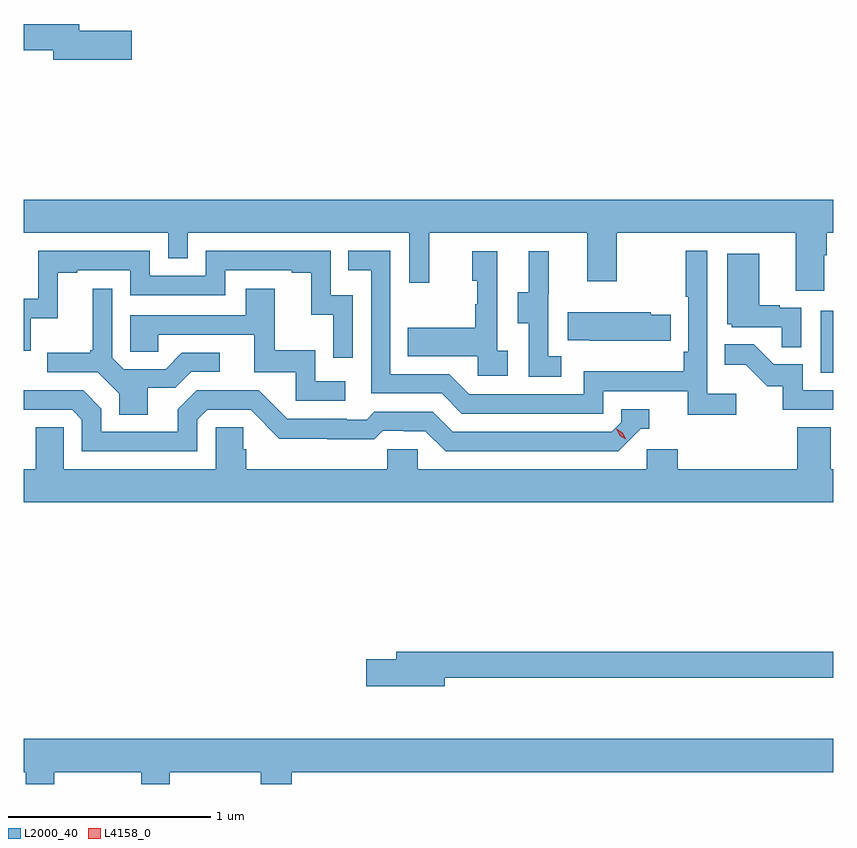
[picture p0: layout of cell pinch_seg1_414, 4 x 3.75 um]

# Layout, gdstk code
import gdstk
lib = gdstk.Library(unit=1e-6, precision=1e-09)
def R(c, l, rs):  # rectangles x0, y0, x1, y1
    for r in rs: c.add(gdstk.rectangle(r[:2], r[2:], *l))
def P(c, l, *ps):  # polygons
    for p in ps: c.add(gdstk.Polygon(p, *l))
L2000_40 = (2000, 40)
L4158_0 = (4158, 0)

pinch_seg1_414 = lib.new_cell('pinch_seg1_414')
R(pinch_seg1_414, L2000_40, [(915.278,539.052,915.34,539.359)])
P(pinch_seg1_414, L2000_40, [(911.875,540.741),(911.614,540.741),(911.614,540.775),(911.34,540.775),(911.34,540.646),(911.486,540.646),(911.486,540.599),(911.875,540.599)],
  [(915.295,539.632),(915.308,539.632),(915.308,539.744),(915.34,539.744),(915.34,539.908),(911.34,539.908),(911.34,539.744),(912.054,539.744),(912.054,539.617),(912.15,539.617),(912.15,539.744),(913.245,539.744),(913.245,539.496),(913.343,539.496),(913.343,539.744),(914.123,539.744),(914.123,539.505),(914.271,539.505),(914.271,539.744),(915.155,539.744),(915.155,539.458),(915.295,539.458)],
  [(914.86,538.948),(914.718,538.948),(914.718,539.656),(914.61,539.656),(914.61,539.428),(914.622,539.428),(914.622,539.155),(914.602,539.155),(914.602,539.059),(914.106,539.059),(914.106,538.947),(913.542,538.947),(913.443,539.046),(913.152,539.046),(913.152,539.655),(912.943,539.655),(912.943,539.559),(913.056,539.559),(913.056,538.95),(913.406,538.95),(913.505,538.851),(914.202,538.851),(914.202,538.962),(914.621,538.962),(914.621,538.846),(914.86,538.846)],
  [(912.966,539.436),(912.858,539.436),(912.858,539.655),(912.24,539.655),(912.24,539.532),(911.964,539.532),(911.964,539.655),(911.412,539.655),(911.412,539.419),(911.34,539.419),(911.34,539.16),(911.376,539.16),(911.376,539.321),(911.509,539.321),(911.509,539.547),(911.605,539.547),(911.605,539.559),(911.868,539.559),(911.868,539.436),(912.336,539.436),(912.336,539.559),(912.665,539.559),(912.665,539.547),(912.761,539.547),(912.761,539.339),(912.87,539.339),(912.87,539.127),(912.966,539.127)],
  [(913.732,539.162),(913.68,539.162),(913.68,539.653),(913.556,539.653),(913.556,539.508),(913.582,539.508),(913.582,539.39),(913.572,539.39),(913.572,539.275),(913.237,539.275),(913.237,539.135),(913.584,539.135),(913.584,539.037),(913.732,539.037)],
  [(913.996,539.135),(913.932,539.135),(913.932,539.439),(913.934,539.439),(913.934,539.653),(913.835,539.653),(913.835,539.451),(913.781,539.451),(913.781,539.296),(913.836,539.296),(913.836,539.032),(913.996,539.032)],
  [(915.18,539.373),(915.074,539.373),(915.074,539.386),(914.974,539.386),(914.974,539.641),(914.816,539.641),(914.816,539.292),(914.838,539.292),(914.838,539.277),(915.085,539.277),(915.085,539.179),(915.18,539.179)],
  [(911.953,538.978),(912.088,538.978),(912.168,539.058),(912.31,539.058),(912.31,539.151),(912.122,539.151),(912.041,539.07),(911.835,539.07),(911.778,539.127),(911.778,539.467),(911.681,539.467),(911.681,539.164),(911.67,539.164),(911.67,539.152),(911.457,539.152),(911.457,539.055),(911.706,539.055),(911.813,538.948),(911.813,538.846),(911.953,538.846)],
  [(912.928,539.01),(912.78,539.01),(912.78,539.164),(912.581,539.164),(912.581,539.467),(912.437,539.467),(912.437,539.337),(911.868,539.337),(911.868,539.157),(912.005,539.157),(912.005,539.241),(912.479,539.241),(912.479,539.055),(912.684,539.055),(912.684,538.914),(912.928,538.914)],
  [(914.537,539.34),(914.439,539.34),(914.439,539.35),(914.029,539.35),(914.029,539.213),(914.137,539.213),(914.137,539.21),(914.537,539.21)],
  [(915.34,538.965),(915.189,538.965),(915.189,539.094),(915.045,539.094),(914.947,539.192),(914.803,539.192),(914.803,539.093),(914.907,539.093),(915.014,538.986),(915.091,538.986),(915.091,538.869),(915.34,538.869)],
  [(912.198,538.821),(912.246,538.869),(912.462,538.869),(912.604,538.727),(912.84,538.727),(912.84,538.725),(913.073,538.725),(913.115,538.767),(913.218,538.767),(913.218,538.764),(913.325,538.764),(913.424,538.665),(914.277,538.665),(914.388,538.776),(914.431,538.776),(914.431,538.872),(914.292,538.872),(914.292,538.809),(914.244,538.761),(913.461,538.761),(913.362,538.86),(913.073,538.86),(913.034,538.821),(912.935,538.821),(912.935,538.824),(912.642,538.824),(912.501,538.965),(912.195,538.965),(912.101,538.871),(912.101,538.761),(911.724,538.761),(911.724,538.875),(911.634,538.965),(911.418,538.965),(911.418,538.967),(911.34,538.967),(911.34,538.869),(911.58,538.869),(911.628,538.821),(911.628,538.665),(912.198,538.665)],
  [(915.34,538.576),(915.326,538.576),(915.326,538.784),(915.161,538.784),(915.161,538.576),(914.57,538.576),(914.57,538.674),(914.418,538.674),(914.418,538.576),(913.287,538.576),(913.287,538.674),(913.137,538.674),(913.137,538.576),(912.44,538.576),(912.44,538.674),(912.425,538.674),(912.425,538.784),(912.288,538.784),(912.288,538.576),(911.538,538.576),(911.538,538.784),(911.399,538.784),(911.399,538.576),(911.34,538.576),(911.34,538.412),(915.34,538.412)],
  [(913.42,537.546),(915.34,537.546),(915.34,537.674),(913.181,537.674),(913.181,537.638),(913.032,537.638),(913.032,537.503),(913.42,537.503)],
  [(911.491,537.08),(911.921,537.08),(911.921,537.021),(912.061,537.021),(912.061,537.08),(912.512,537.08),(912.512,537.021),(912.665,537.021),(912.665,537.08),(915.34,537.08),(915.34,537.244),(911.34,537.244),(911.34,537.08),(911.351,537.08),(911.351,537.021),(911.491,537.021)])
P(pinch_seg1_414, L4158_0, [(914.315,538.723),(914.284,538.742),(914.268,538.775),(914.268,538.775),(914.269,538.775),(914.299,538.756),(914.315,538.724),(914.315,538.723)])

lib.write_gds('pinch_seg1_414.gds')
